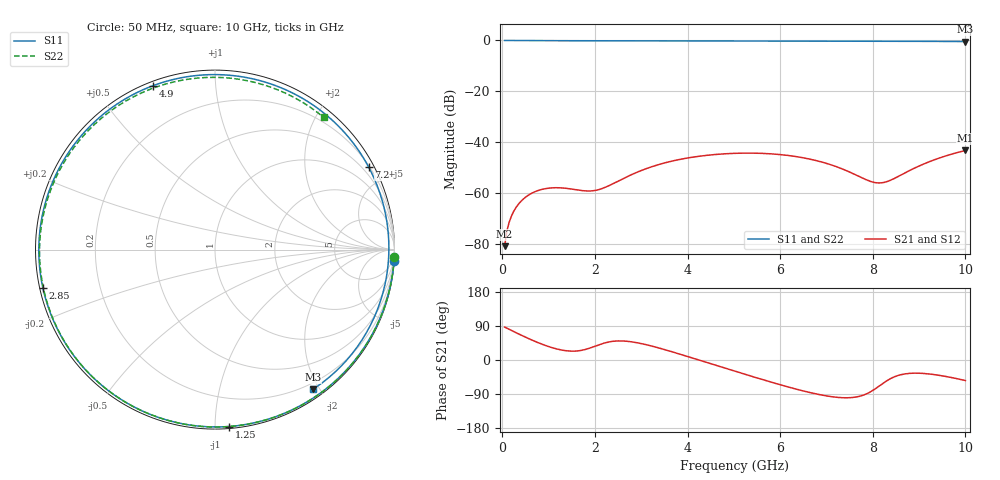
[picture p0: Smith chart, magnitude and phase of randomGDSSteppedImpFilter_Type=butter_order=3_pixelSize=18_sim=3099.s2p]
! freq	dB(S11)	phase(S11)	dB(S12)	phase(S12)
!  dB(S21)	phase(S21)	dB(S22)	phase(S22)
!S-par simulation data
#  GHz  S  DB  R 50
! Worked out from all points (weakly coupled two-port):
!   200 points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, 50 MHz to 10 GHz, reference 50 ohm
!   highest |S21| = -43.19 dB at 10 GHz (marker M1); lowest = -80.7 dB at 50 MHz (marker M2)
!   lowest |S11| = -0.4 dB at 10 GHz (marker M3), VSWR 39.37, Z = 5.96 - j96 ohm
!   |S11| at or under -10 dB: nowhere
!   |S22| runs from -0.4 to 0.0 dB; largest |S21 - S12| = 0
!   S11 on the Smith chart (normalised r, x): 50 MHz: 0, -31; 1.25 GHz: 0.01, -1.08; 2.85 GHz: 0.01, -0.11; 4.9 GHz: 0.02, +0.69; 7.2 GHz: 0.24, +3.97; 10 GHz: 0.12, -1.92
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0.05  -0.00 -3.7  -80.74 86.9  -80.74 86.9  -0.00 -2.5
0.1  -0.01 -7.4  -74.74 83.9  -74.74 83.9  -0.01 -5.0
0.2  -0.02 -14.6  -68.82 77.9  -68.82 77.9  -0.01 -9.9
0.4  -0.04 -29.0  -63.19 66.0  -63.19 66.0  -0.03 -19.7
0.6  -0.06 -43.0  -60.32 54.8  -60.32 54.8  -0.04 -29.4
0.85  -0.07 -60.0  -58.48 42.0  -58.48 42.0  -0.05 -41.2
1.25  -0.10 -85.5  -57.84 27.0  -57.84 27.0  -0.07 -59.3
1.75  -0.12 -114.2  -58.98 26.5  -58.98 26.5  -0.09 -80.2
2  -0.13 -127.4  -58.89 36.3  -58.89 36.3  -0.10 -90.0
2.3  -0.14 -142.3  -57.02 47.6  -57.02 47.6  -0.11 -101.1
2.85  -0.15 -167.6  -52.19 46.9  -52.19 46.9  -0.13 -119.8
3.4  -0.17 169.1  -48.59 31.1  -48.59 31.1  -0.14 -136.8
4.2  -0.19 137.3  -45.57 1.6  -45.57 1.6  -0.16 -159.2
4.9  -0.21 110.6  -44.40 -24.9  -44.40 -24.9  -0.19 -177.4
5.05  -0.21 105.0  -44.29 -30.6  -44.29 -30.6  -0.20 178.9
5.85  -0.23 75.5  -44.57 -60.0  -44.57 -60.0  -0.23 159.2
6.7  -0.24 45.3  -46.81 -87.5  -46.81 -87.5  -0.27 138.5
7.2  -0.25 28.2  -49.45 -98.1  -49.45 -98.1  -0.30 126.1
8  -0.27 2.4  -55.58 -80.4  -55.58 -80.4  -0.33 105.8
8.35  -0.29 -8.4  -55.11 -51.4  -55.11 -51.4  -0.35 96.6
9.2  -0.35 -33.0  -47.74 -36.6  -47.74 -36.6  -0.38 73.5
10  -0.44 -54.9  -43.19 -54.2  -43.19 -54.2  -0.42 50.6
